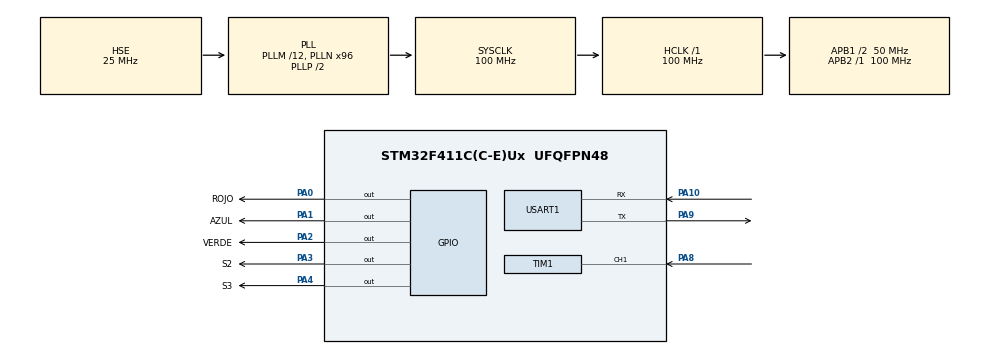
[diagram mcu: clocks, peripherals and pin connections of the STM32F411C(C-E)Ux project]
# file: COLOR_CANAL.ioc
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Mcu.Family=STM32F4
Mcu.Name=STM32F411C(C-E)Ux
Mcu.Package=UFQFPN48
NVIC.PriorityGroup=NVIC_PRIORITYGROUP_4
NVIC.TIM1_CC_IRQn=true\:0\:0\:false\:false\:true\:true\:true\:true
PA0-WKUP.GPIO_Label=ROJO
PA0-WKUP.Signal=GPIO_Output
PA1.GPIO_Label=AZUL
PA1.Signal=GPIO_Output
PA10.Mode=Asynchronous
PA10.Signal=USART1_RX
PA2.GPIO_Label=VERDE
PA2.Signal=GPIO_Output
PA3.GPIO_Label=S2
PA3.Signal=GPIO_Output
PA4.GPIO_Label=S3
PA4.Signal=GPIO_Output
PA8.Signal=S_TIM1_CH1
PA9.Mode=Asynchronous
PA9.Signal=USART1_TX
PH0\ -\ OSC_IN.Mode=HSE-External-Oscillator
PH0\ -\ OSC_IN.Signal=RCC_OSC_IN
PH1\ -\ OSC_OUT.Mode=HSE-External-Oscillator
PH1\ -\ OSC_OUT.Signal=RCC_OSC_OUT
ProjectManager.HeapSize=0x200
ProjectManager.StackSize=0x400
ProjectManager.TargetToolchain=STM32CubeIDE
RCC.48MHZClocksFreq_Value=50000000
RCC.AHBFreq_Value=100000000
RCC.APB1CLKDivider=RCC_HCLK_DIV2
RCC.APB1Freq_Value=50000000
RCC.APB1TimFreq_Value=100000000
RCC.APB2Freq_Value=100000000
RCC.APB2TimFreq_Value=100000000
RCC.CortexFreq_Value=100000000
RCC.HCLKFreq_Value=100000000
RCC.HSE_VALUE=25000000
RCC.HSI_VALUE=16000000
RCC.LSE_VALUE=32768
RCC.PLLM=12
RCC.PLLN=96
RCC.PLLSourceVirtual=RCC_PLLSOURCE_HSE
RCC.SYSCLKFreq_VALUE=100000000
RCC.SYSCLKSource=RCC_SYSCLKSOURCE_PLLCLK
RCC.VCOOutputFreq_Value=200000000
SH.S_TIM1_CH1.0=TIM1_CH1,Input_Capture1_from_TI1
TIM1.Channel-Input_Capture1_from_TI1=TIM_CHANNEL_1
TIM1.Prescaler=100-1
USART1.VirtualMode=VM_ASYNC
VP_TIM1_VS_ClockSourceINT.Mode=Internal
board=custom

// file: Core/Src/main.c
/* USER CODE BEGIN Header */
/**
  ******************************************************************************
  * @file           : main.c
  * @brief          : Main program body
  ******************************************************************************
  * @attention
  *
  * Copyright (c) 2024 STMicroelectronics.
  * All rights reserved.
  *
  * This software is licensed under terms that can be found in the LICENSE file
  * in the root directory of this software component.
  * If no LICENSE file comes with this software, it is provided AS-IS.
  *
  ******************************************************************************
  */
/* USER CODE END Header */
#include "main.h"

/* USER CODE BEGIN Includes */
#include "uart.h"
#include "TCS3200_COLOR.h"
#include "pinout.h"

#include "stdint.h"
#include "stdio.h"
#include "stdlib.h"
#include "string.h"
/* USER CODE END Includes */

TIM_HandleTypeDef htim1;

UART_HandleTypeDef huart1;

/* USER CODE BEGIN PV */
float frecuencia;
char texto[50];
/* USER CODE END PV */

void SystemClock_Config(void);
static void MX_GPIO_Init(void);
static void MX_TIM1_Init(void);
static void MX_USART1_UART_Init(void);

/* USER CODE BEGIN 0 */
void RGB(uint8_t rojo,uint8_t verde, uint8_t azul)
{
 PIN_PUT(ROJO,!rojo)	;
 PIN_PUT(VERDE,!verde)	;
 PIN_PUT(AZUL,!azul)	;

}
/* USER CODE END 0 */

int main(void)
{

  /* MCU Configuration--------------------------------------------------------*/

  /* Reset of all peripherals, Initializes the Flash interface and the Systick. */
  HAL_Init();

  /* Configure the system clock */
  SystemClock_Config();

  /* Initialize all configured peripherals */
  MX_GPIO_Init();
  MX_TIM1_Init();
  MX_USART1_UART_Init();
  /* USER CODE BEGIN 2 */
  TCS3200_Init();
  HAL_Delay(200);
  /* USER CODE END 2 */
  uartx_write_text(&huart1,"INICIANDO\r\n");

  /* Infinite loop */
  /* USER CODE BEGIN WHILE */
  while (1)
  {
	      RGB(0, 0, 0);

	      //filtra rojo
	      PIN_OFF(S2);
	      PIN_OFF(S3);
	      HAL_Delay(1); //tiempo necesario para captura de datos de frecuencia
	      if(frecuencia>rojo_min)  RGB(1,0,0);
	      sprintf(texto,"FrecRojo=%.1f\r\n",frecuencia);
	      uartx_write_text(&huart1, texto);
	      frecuencia=0;

    //filtra verde
	      PIN_ON(S2);
	      PIN_ON(S3);
	      HAL_Delay(1); //tiempo necesario para captura de datos de frecuencia
	      if(frecuencia>verde_min)  RGB(0,1,0);
	      sprintf(texto,"FrecVerde=%.1f\r\n",frecuencia);
	      uartx_write_text(&huart1, texto);
	      frecuencia=0;

	    	//Aplica filtro  azul
	        PIN_OFF(S2);
	        PIN_ON(S3);
	        HAL_Delay(1); //tiempo necesario para captura de datos de frecuencia
	        if(frecuencia>azul_min)  RGB(0,0,1);
	        sprintf(texto,"FrecAzul=%.1f\r\n",frecuencia);
	        uartx_write_text(&huart1, texto);
	        frecuencia=0;

	      uartx_write_text(&huart1, "\r\n");
       HAL_Delay(500);

    /* USER CODE END WHILE */

  }
}

void SystemClock_Config(void)
{
  RCC_OscInitTypeDef RCC_OscInitStruct = {0};
  RCC_ClkInitTypeDef RCC_ClkInitStruct = {0};

  /** Configure the main internal regulator output voltage
  */
  __HAL_RCC_PWR_CLK_ENABLE();
  __HAL_PWR_VOLTAGESCALING_CONFIG(PWR_REGULATOR_VOLTAGE_SCALE1);

  /** Initializes the RCC Oscillators according to the specified parameters
  * in the RCC_OscInitTypeDef structure.
  */
  RCC_OscInitStruct.OscillatorType = RCC_OSCILLATORTYPE_HSE;
  RCC_OscInitStruct.HSEState = RCC_HSE_ON;
  RCC_OscInitStruct.PLL.PLLState = RCC_PLL_ON;
  RCC_OscInitStruct.PLL.PLLSource = RCC_PLLSOURCE_HSE;
  RCC_OscInitStruct.PLL.PLLM = 12;
  RCC_OscInitStruct.PLL.PLLN = 96;
  RCC_OscInitStruct.PLL.PLLP = RCC_PLLP_DIV2;
  RCC_OscInitStruct.PLL.PLLQ = 4;
  if (HAL_RCC_OscConfig(&RCC_OscInitStruct) != HAL_OK)
  {
    Error_Handler();
  }

  /** Initializes the CPU, AHB and APB buses clocks
  */
  RCC_ClkInitStruct.ClockType = RCC_CLOCKTYPE_HCLK|RCC_CLOCKTYPE_SYSCLK
                              |RCC_CLOCKTYPE_PCLK1|RCC_CLOCKTYPE_PCLK2;
  RCC_ClkInitStruct.SYSCLKSource = RCC_SYSCLKSOURCE_PLLCLK;
  RCC_ClkInitStruct.AHBCLKDivider = RCC_SYSCLK_DIV1;
  RCC_ClkInitStruct.APB1CLKDivider = RCC_HCLK_DIV2;
  RCC_ClkInitStruct.APB2CLKDivider = RCC_HCLK_DIV1;

  if (HAL_RCC_ClockConfig(&RCC_ClkInitStruct, FLASH_LATENCY_3) != HAL_OK)
  {
    Error_Handler();
  }
}

static void MX_TIM1_Init(void)
{

  TIM_ClockConfigTypeDef sClockSourceConfig = {0};
  TIM_MasterConfigTypeDef sMasterConfig = {0};
  TIM_IC_InitTypeDef sConfigIC = {0};

  htim1.Instance = TIM1;
  htim1.Init.Prescaler = 100-1;
  htim1.Init.CounterMode = TIM_COUNTERMODE_UP;
  htim1.Init.Period = 65535;
  htim1.Init.ClockDivision = TIM_CLOCKDIVISION_DIV1;
  htim1.Init.RepetitionCounter = 0;
  htim1.Init.AutoReloadPreload = TIM_AUTORELOAD_PRELOAD_DISABLE;
  if (HAL_TIM_Base_Init(&htim1) != HAL_OK)
  {
    Error_Handler();
  }
  sClockSourceConfig.ClockSource = TIM_CLOCKSOURCE_INTERNAL;
  if (HAL_TIM_ConfigClockSource(&htim1, &sClockSourceConfig) != HAL_OK)
  {
    Error_Handler();
  }
  if (HAL_TIM_IC_Init(&htim1) != HAL_OK)
  {
    Error_Handler();
  }
  sMasterConfig.MasterOutputTrigger = TIM_TRGO_RESET;
  sMasterConfig.MasterSlaveMode = TIM_MASTERSLAVEMODE_DISABLE;
  if (HAL_TIMEx_MasterConfigSynchronization(&htim1, &sMasterConfig) != HAL_OK)
  {
    Error_Handler();
  }
  sConfigIC.ICPolarity = TIM_INPUTCHANNELPOLARITY_RISING;
  sConfigIC.ICSelection = TIM_ICSELECTION_DIRECTTI;
  sConfigIC.ICPrescaler = TIM_ICPSC_DIV1;
  sConfigIC.ICFilter = 0;
  if (HAL_TIM_IC_ConfigChannel(&htim1, &sConfigIC, TIM_CHANNEL_1) != HAL_OK)
  {
    Error_Handler();
  }

}

static void MX_USART1_UART_Init(void)
{

  huart1.Instance = USART1;
  huart1.Init.BaudRate = 115200;
  huart1.Init.WordLength = UART_WORDLENGTH_8B;
  huart1.Init.StopBits = UART_STOPBITS_1;
  huart1.Init.Parity = UART_PARITY_NONE;
  huart1.Init.Mode = UART_MODE_TX_RX;
  huart1.Init.HwFlowCtl = UART_HWCONTROL_NONE;
  huart1.Init.OverSampling = UART_OVERSAMPLING_16;
  if (HAL_UART_Init(&huart1) != HAL_OK)
  {
    Error_Handler();
  }

}

static void MX_GPIO_Init(void)
{
  GPIO_InitTypeDef GPIO_InitStruct = {0};

  /* GPIO Ports Clock Enable */
  __HAL_RCC_GPIOH_CLK_ENABLE();
  __HAL_RCC_GPIOA_CLK_ENABLE();

  /*Configure GPIO pin Output Level */
  HAL_GPIO_WritePin(GPIOA, ROJO_Pin|AZUL_Pin|VERDE_Pin|S2_Pin
                          |S3_Pin, GPIO_PIN_RESET);

  /*Configure GPIO pins : ROJO_Pin AZUL_Pin VERDE_Pin S2_Pin
                           S3_Pin */
  GPIO_InitStruct.Pin = ROJO_Pin|AZUL_Pin|VERDE_Pin|S2_Pin
                          |S3_Pin;
  GPIO_InitStruct.Mode = GPIO_MODE_OUTPUT_PP;
  GPIO_InitStruct.Pull = GPIO_NOPULL;
  GPIO_InitStruct.Speed = GPIO_SPEED_FREQ_LOW;
  HAL_GPIO_Init(GPIOA, &GPIO_InitStruct);

}

void Error_Handler(void)
{
  __disable_irq();
  while (1)
  {
  }
}
